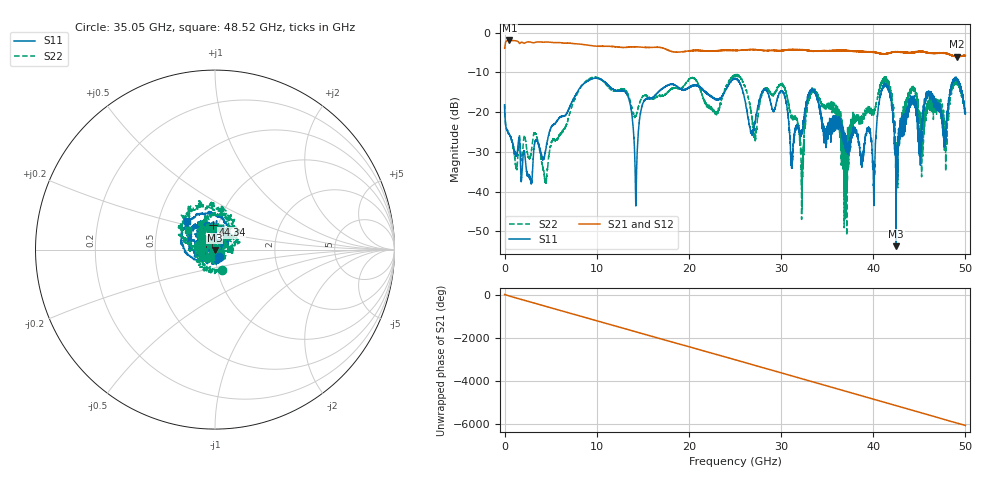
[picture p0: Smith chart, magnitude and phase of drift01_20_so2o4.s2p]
!Created with skrf (http://scikit-rf.org).
# Hz S RI R 50.0
!freq ReS11 ImS11 ReS21 ImS21 ReS12 ImS12 ReS22 ImS22
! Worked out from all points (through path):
!   10001 points, 300 kHz to 50 GHz, reference 50 ohm
!   highest |S21| = -2.00 dB at 520.3 MHz (marker M1); lowest = -6.1 dB at 49.05 GHz (marker M2)
!   group delay of S21, straight-line fit = 336 ps
!   lowest |S11| = -53.7 dB at 42.48 GHz (marker M3), VSWR 1.00, Z = 50 - j0.2 ohm
!   |S11| at or under -10 dB: start of sweep to end of sweep
!   |S22| runs from -51.0 to -10.5 dB; largest |S21 - S12| = 0.019
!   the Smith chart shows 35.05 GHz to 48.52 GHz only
!   S11 on the Smith chart (normalised r, x): 35.05 GHz: 1.05, -0.08; 44.34 GHz: 0.94, +0.26; 48.52 GHz: 0.70, +0.23
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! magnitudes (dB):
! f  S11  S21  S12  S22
! 300 kHz  -18.2  -3.9  -4.0  -18.0
! 520.3 MHz  -25.7  -2.0  -2.0  -25.6
! 4.435 GHz  -29.9  -2.4  -2.4  -37.2
! 8.335 GHz  -13.5  -3.0  -3.0  -13.5
! 13.17 GHz  -15.1  -3.8  -3.8  -14.6
! 14.25 GHz  -43.2  -3.6  -3.6  -21.1
! 16.67 GHz  -15.0  -3.7  -3.7  -15.9
! 25 GHz  -11.6  -4.5  -4.6  -10.9
! 27.15 GHz  -22.6  -4.3  -4.3  -25.9
! 30.2 GHz  -15.1  -4.5  -4.5  -13.2
! 32.25 GHz  -25.3  -4.4  -4.4  -40.2
! 33.34 GHz  -14.3  -4.7  -4.6  -14.9
! 35.05 GHz  -26.7  -4.6  -4.7  -18.3
! 37.05 GHz  -27.6  -4.6  -4.6  -36.9
! 40.06 GHz  -42.2  -5.0  -5.0  -20.5
! 41.67 GHz  -14.4  -5.1  -5.1  -12.7
! 42.48 GHz  -53.7  -4.8  -4.8  -31.1
! 44.34 GHz  -17.2  -5.0  -5.0  -13.8
! 45.33 GHz  -21.9  -4.7  -4.8  -26.1
! 48.52 GHz  -13.1  -5.7  -5.8  -14.6
! 49.05 GHz  -11.6  -6.1  -6.1  -12.4
! 50 GHz  -20.2  -5.8  -5.8  -19.9
